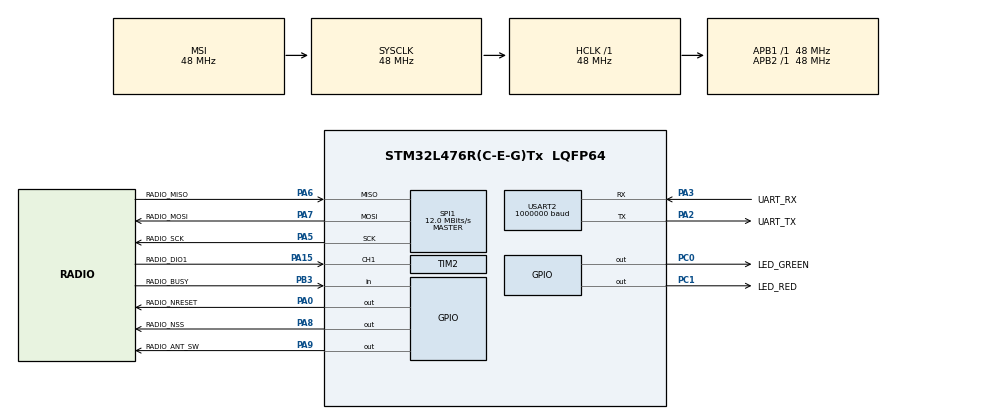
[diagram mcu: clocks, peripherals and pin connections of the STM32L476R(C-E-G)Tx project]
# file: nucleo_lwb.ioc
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Dma.Request0=USART2_RX
Dma.Request1=USART2_TX
Dma.USART2_RX.0.Direction=DMA_PERIPH_TO_MEMORY
Dma.USART2_RX.0.Instance=DMA1_Channel6
Dma.USART2_RX.0.MemDataAlignment=DMA_MDATAALIGN_BYTE
Dma.USART2_RX.0.MemInc=DMA_MINC_ENABLE
Dma.USART2_RX.0.Mode=DMA_CIRCULAR
Dma.USART2_RX.0.PeriphDataAlignment=DMA_PDATAALIGN_BYTE
Dma.USART2_RX.0.PeriphInc=DMA_PINC_DISABLE
Dma.USART2_RX.0.Priority=DMA_PRIORITY_MEDIUM
Dma.USART2_TX.1.Direction=DMA_MEMORY_TO_PERIPH
Dma.USART2_TX.1.Instance=DMA1_Channel7
Dma.USART2_TX.1.MemDataAlignment=DMA_MDATAALIGN_BYTE
Dma.USART2_TX.1.MemInc=DMA_MINC_ENABLE
Dma.USART2_TX.1.Mode=DMA_NORMAL
Dma.USART2_TX.1.PeriphDataAlignment=DMA_PDATAALIGN_BYTE
Dma.USART2_TX.1.PeriphInc=DMA_PINC_DISABLE
Dma.USART2_TX.1.Priority=DMA_PRIORITY_MEDIUM
FREERTOS.HEAP_NUMBER=1
FREERTOS.INCLUDE_uxTaskGetStackHighWaterMark=1
FREERTOS.INCLUDE_vTaskDelete=0
FREERTOS.INCLUDE_xTaskGetCurrentTaskHandle=1
FREERTOS.MEMORY_ALLOCATION=0
FREERTOS.Tasks01=defaultTask,0,256,StartDefaultTask,Default,NULL,Dynamic,NULL,NULL
FREERTOS.configCHECK_FOR_STACK_OVERFLOW=1
FREERTOS.configGENERATE_RUN_TIME_STATS=0
FREERTOS.configMINIMAL_STACK_SIZE=256
FREERTOS.configTICK_RATE_HZ=1000
FREERTOS.configTOTAL_HEAP_SIZE=16384
FREERTOS.configUSE_IDLE_HOOK=1
FREERTOS.configUSE_MALLOC_FAILED_HOOK=1
FREERTOS.configUSE_PREEMPTION=0
FREERTOS.configUSE_STATS_FORMATTING_FUNCTIONS=0
FREERTOS.configUSE_TICKLESS_IDLE=1
FREERTOS.configUSE_TICK_HOOK=0
FREERTOS.configUSE_TRACE_FACILITY=0
Mcu.Family=STM32L4
Mcu.Name=STM32L476R(C-E-G)Tx
Mcu.Package=LQFP64
NVIC.DMA1_Channel6_IRQn=true\:5\:0\:false\:false\:true\:true\:false\:true
NVIC.DMA1_Channel7_IRQn=true\:5\:0\:false\:false\:true\:true\:false\:true
NVIC.LPTIM1_IRQn=true\:5\:0\:false\:false\:true\:true\:true\:true
NVIC.PriorityGroup=NVIC_PRIORITYGROUP_4
NVIC.SPI1_IRQn=true\:5\:0\:false\:false\:true\:true\:true\:true
NVIC.TIM1_UP_TIM16_IRQn=true\:0\:0\:false\:false\:true\:false\:false\:true
NVIC.TIM2_IRQn=true\:5\:0\:true\:false\:true\:true\:true\:true
NVIC.TimeBase=TIM1_UP_TIM16_IRQn
NVIC.TimeBaseIP=TIM1
NVIC.USART2_IRQn=true\:5\:0\:false\:false\:true\:true\:true\:true
PA0.GPIO_Label=RADIO_NRESET
PA0.PinState=GPIO_PIN_SET
PA0.Signal=GPIO_Output
PA13\ (JTMS-SWDIO).Mode=Serial_Wire
PA13\ (JTMS-SWDIO).Signal=SYS_JTMS-SWDIO
PA14\ (JTCK-SWCLK).Mode=Serial_Wire
PA14\ (JTCK-SWCLK).Signal=SYS_JTCK-SWCLK
PA15\ (JTDI).GPIO_Label=RADIO_DIO1
PA15\ (JTDI).Signal=S_TIM2_CH1
PA2.GPIO_Label=UART_TX
PA2.GPIO_PuPd=GPIO_PULLUP
PA2.Mode=Asynchronous
PA2.Signal=USART2_TX
PA3.GPIO_Label=UART_RX
PA3.GPIO_PuPd=GPIO_PULLUP
PA3.Mode=Asynchronous
PA3.Signal=USART2_RX
PA5.GPIO_Label=RADIO_SCK
PA5.GPIO_PuPd=GPIO_PULLDOWN
PA5.Mode=Full_Duplex_Master
PA5.Signal=SPI1_SCK
PA6.GPIO_Label=RADIO_MISO
PA6.GPIO_PuPd=GPIO_PULLDOWN
PA6.Mode=Full_Duplex_Master
PA6.Signal=SPI1_MISO
PA7.GPIO_Label=RADIO_MOSI
PA7.GPIO_PuPd=GPIO_PULLDOWN
PA7.Mode=Full_Duplex_Master
PA7.Signal=SPI1_MOSI
PA8.GPIO_Label=RADIO_NSS
PA8.PinState=GPIO_PIN_SET
PA8.Signal=GPIO_Output
PA9.GPIO_Label=RADIO_ANT_SW
PA9.PinState=GPIO_PIN_SET
PA9.Signal=GPIO_Output
PB3\ (JTDO-TRACESWO).GPIO_Label=RADIO_BUSY
PB3\ (JTDO-TRACESWO).GPIO_PuPd=GPIO_PULLDOWN
PB3\ (JTDO-TRACESWO).Signal=GPIO_Input
PC0.GPIO_Label=LED_GREEN
PC0.Signal=GPIO_Output
PC1.GPIO_Label=LED_RED
PC1.Signal=GPIO_Output
PC14-OSC32_IN\ (PC14).Mode=LSE-External-Oscillator
PC14-OSC32_IN\ (PC14).Signal=RCC_OSC32_IN
PC15-OSC32_OUT\ (PC15).Mode=LSE-External-Oscillator
PC15-OSC32_OUT\ (PC15).Signal=RCC_OSC32_OUT
ProjectManager.HeapSize=0x200
ProjectManager.StackSize=0x400
ProjectManager.TargetToolchain=STM32CubeIDE
RCC.ADCFreq_Value=192000000
RCC.AHBFreq_Value=48000000
RCC.APB1Freq_Value=48000000
RCC.APB1TimFreq_Value=48000000
RCC.APB2Freq_Value=48000000
RCC.APB2TimFreq_Value=48000000
RCC.CortexFreq_Value=48000000
RCC.HCLKFreq_Value=48000000
RCC.HSE_VALUE=8000000
RCC.HSI_VALUE=16000000
RCC.LPTIM1CLockSelection=RCC_LPTIM1CLKSOURCE_LSE
RCC.MSIClockRange=RCC_MSIRANGE_11
RCC.MSI_VALUE=48000000
RCC.SYSCLKFreq_VALUE=48000000
RCC.USBFreq_Value=192000000
RCC.VCOOutputFreq_Value=384000000
SH.S_TIM2_CH1.0=TIM2_CH1,Input_Capture1_from_TI1
SPI1.BaudRatePrescaler=SPI_BAUDRATEPRESCALER_4
SPI1.CalculateBaudRate=12.0 MBits/s
SPI1.DataSize=SPI_DATASIZE_8BIT
SPI1.Direction=SPI_DIRECTION_2LINES
SPI1.Mode=SPI_MODE_MASTER
SPI1.VirtualType=VM_MASTER
TIM2.Channel-Input_Capture1_from_TI1=TIM_CHANNEL_1
TIM2.Channel-Output\ Compare2\ No\ Output=TIM_CHANNEL_2
TIM2.Channel-Output\ Compare3\ No\ Output=TIM_CHANNEL_3
TIM2.Period=0xFFFFFFFF
TIM2.Prescaler=5
TIM2.Pulse-Output\ Compare2\ No\ Output=0xFFFFFFFF
TIM2.Pulse-Output\ Compare3\ No\ Output=0xFFFFFFFF
USART2.BaudRate=1000000
USART2.VirtualMode-Asynchronous=VM_ASYNC
VP_FREERTOS_VS_CMSIS_V1.Mode=CMSIS_V1
VP_LPTIM1_VS_LPTIM_counterModeInternalClock.Mode=Counts__internal_clock_event_00
VP_SYS_VS_tim1.Mode=TIM1
VP_TIM2_VS_ClockSourceINT.Mode=Internal
VP_TIM2_VS_no_output2.Mode=Output Compare2 No Output
VP_TIM2_VS_no_output3.Mode=Output Compare3 No Output
board=nucleo-l476rg

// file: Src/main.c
/* USER CODE BEGIN Header */
/**
  ******************************************************************************
  * @file           : main.c
  * @brief          : Main program body
  ******************************************************************************
  * @attention
  *
  * <h2><center>&copy; Copyright (c) 2019 STMicroelectronics.
  * All rights reserved.</center></h2>
  *
  * This software component is licensed by ST under Ultimate Liberty license
  * SLA0044, the "License"; You may not use this file except in compliance with
  * the License. You may obtain a copy of the License at:
  *                             www.st.com/SLA0044
  *
  ******************************************************************************
  */
/* USER CODE END Header */

#include "main.h"
#include "cmsis_os.h"

LPTIM_HandleTypeDef hlptim1;

SPI_HandleTypeDef hspi1;

TIM_HandleTypeDef htim2;

UART_HandleTypeDef huart2;
DMA_HandleTypeDef hdma_usart2_rx;
DMA_HandleTypeDef hdma_usart2_tx;

osThreadId defaultTaskHandle;

void SystemClock_Config(void);
static void MX_GPIO_Init(void);
static void MX_DMA_Init(void);
static void MX_LPTIM1_Init(void);
static void MX_SPI1_Init(void);
static void MX_TIM2_Init(void);
static void MX_USART2_UART_Init(void);
void StartDefaultTask(void const * argument);

int main(void)
{
  /* USER CODE BEGIN 1 */

  system_boot();

  /* USER CODE END 1 */

  /* MCU Configuration--------------------------------------------------------*/

  /* Reset of all peripherals, Initializes the Flash interface and the Systick. */
  HAL_Init();

  /* Configure the system clock */
  SystemClock_Config();

  /* Initialize all configured peripherals */
  MX_GPIO_Init();
  MX_DMA_Init();
  MX_LPTIM1_Init();
  MX_SPI1_Init();
  MX_TIM2_Init();
  MX_USART2_UART_Init();
  /* USER CODE BEGIN 2 */

  /* print firmware and compiler info as well as the node ID */

  LOG_RAW(LOG_NEWLINE);
  LOG_INFO("compile date: %s  %s", __DATE__, __TIME__);
  LOG_INFO("node ID: %u", NODE_ID);
  LOG_INFO("reset flag: %s", system_get_reset_cause(0));
  LOG_INFO("radio config: %.3fMHz (ch %d), modulation %d, %ddBm", (float)(radio_bands[GLORIA_INTERFACE_RF_BAND].centerFrequency / 1000000.0f), GLORIA_INTERFACE_RF_BAND, GLORIA_INTERFACE_MODULATION, GLORIA_INTERFACE_POWER);

  system_init();

  /* initialize state machine for handling low-power modes */
  lpm_init(0, 0);

  /* USER CODE END 2 */

  /* Create the thread(s) */
  /* definition and creation of defaultTask */
  osThreadDef(defaultTask, StartDefaultTask, osPriorityNormal, 0, 256);
  defaultTaskHandle = osThreadCreate(osThread(defaultTask), NULL);

  /* USER CODE BEGIN RTOS_THREADS */
  /* FreeRTOS tasks, queues, etc. */
  rtos_init();

  /* USER CODE END RTOS_THREADS */

  /* Start scheduler */
  osKernelStart();

  /* We should never get here as control is now taken by the scheduler */
  /* Infinite loop */
  while (1)
  {
  }

}

void SystemClock_Config(void)
{
  RCC_OscInitTypeDef RCC_OscInitStruct = {0};
  RCC_ClkInitTypeDef RCC_ClkInitStruct = {0};
  RCC_PeriphCLKInitTypeDef PeriphClkInit = {0};

  /** Configure LSE Drive Capability
  */
  HAL_PWR_EnableBkUpAccess();
  __HAL_RCC_LSEDRIVE_CONFIG(RCC_LSEDRIVE_LOW);
  /** Initializes the CPU, AHB and APB busses clocks
  */
  RCC_OscInitStruct.OscillatorType = RCC_OSCILLATORTYPE_LSE|RCC_OSCILLATORTYPE_MSI;
  RCC_OscInitStruct.LSEState = RCC_LSE_ON;
  RCC_OscInitStruct.MSIState = RCC_MSI_ON;
  RCC_OscInitStruct.MSICalibrationValue = 0;
  RCC_OscInitStruct.MSIClockRange = RCC_MSIRANGE_11;
  RCC_OscInitStruct.PLL.PLLState = RCC_PLL_NONE;
  if (HAL_RCC_OscConfig(&RCC_OscInitStruct) != HAL_OK)
  {
    Error_Handler();
  }
  /** Initializes the CPU, AHB and APB busses clocks
  */
  RCC_ClkInitStruct.ClockType = RCC_CLOCKTYPE_HCLK|RCC_CLOCKTYPE_SYSCLK
                              |RCC_CLOCKTYPE_PCLK1|RCC_CLOCKTYPE_PCLK2;
  RCC_ClkInitStruct.SYSCLKSource = RCC_SYSCLKSOURCE_MSI;
  RCC_ClkInitStruct.AHBCLKDivider = RCC_SYSCLK_DIV1;
  RCC_ClkInitStruct.APB1CLKDivider = RCC_HCLK_DIV1;
  RCC_ClkInitStruct.APB2CLKDivider = RCC_HCLK_DIV1;

  if (HAL_RCC_ClockConfig(&RCC_ClkInitStruct, FLASH_LATENCY_2) != HAL_OK)
  {
    Error_Handler();
  }
  PeriphClkInit.PeriphClockSelection = RCC_PERIPHCLK_USART2|RCC_PERIPHCLK_LPTIM1;
  PeriphClkInit.Usart2ClockSelection = RCC_USART2CLKSOURCE_PCLK1;
  PeriphClkInit.Lptim1ClockSelection = RCC_LPTIM1CLKSOURCE_LSE;
  if (HAL_RCCEx_PeriphCLKConfig(&PeriphClkInit) != HAL_OK)
  {
    Error_Handler();
  }
  /** Configure the main internal regulator output voltage
  */
  if (HAL_PWREx_ControlVoltageScaling(PWR_REGULATOR_VOLTAGE_SCALE1) != HAL_OK)
  {
    Error_Handler();
  }
  /** Enable MSI Auto calibration
  */
  HAL_RCCEx_EnableMSIPLLMode();
}

static void MX_LPTIM1_Init(void)
{

  hlptim1.Instance = LPTIM1;
  hlptim1.Init.Clock.Source = LPTIM_CLOCKSOURCE_APBCLOCK_LPOSC;
  hlptim1.Init.Clock.Prescaler = LPTIM_PRESCALER_DIV1;
  hlptim1.Init.Trigger.Source = LPTIM_TRIGSOURCE_SOFTWARE;
  hlptim1.Init.OutputPolarity = LPTIM_OUTPUTPOLARITY_HIGH;
  hlptim1.Init.UpdateMode = LPTIM_UPDATE_IMMEDIATE;
  hlptim1.Init.CounterSource = LPTIM_COUNTERSOURCE_INTERNAL;
  hlptim1.Init.Input1Source = LPTIM_INPUT1SOURCE_GPIO;
  hlptim1.Init.Input2Source = LPTIM_INPUT2SOURCE_GPIO;
  if (HAL_LPTIM_Init(&hlptim1) != HAL_OK)
  {
    Error_Handler();
  }
  /* USER CODE BEGIN LPTIM1_Init 2 */
  __HAL_LPTIM_ENABLE_IT(&hlptim1, LPTIM_IT_CMPM);     /* must be enabled before starting the timer */
  HAL_LPTIM_Counter_Start_IT(&hlptim1, 0xffff);
  /* USER CODE END LPTIM1_Init 2 */

}

static void MX_SPI1_Init(void)
{

  /* SPI1 parameter configuration*/
  hspi1.Instance = SPI1;
  hspi1.Init.Mode = SPI_MODE_MASTER;
  hspi1.Init.Direction = SPI_DIRECTION_2LINES;
  hspi1.Init.DataSize = SPI_DATASIZE_8BIT;
  hspi1.Init.CLKPolarity = SPI_POLARITY_LOW;
  hspi1.Init.CLKPhase = SPI_PHASE_1EDGE;
  hspi1.Init.NSS = SPI_NSS_SOFT;
  hspi1.Init.BaudRatePrescaler = SPI_BAUDRATEPRESCALER_4;
  hspi1.Init.FirstBit = SPI_FIRSTBIT_MSB;
  hspi1.Init.TIMode = SPI_TIMODE_DISABLE;
  hspi1.Init.CRCCalculation = SPI_CRCCALCULATION_DISABLE;
  hspi1.Init.CRCPolynomial = 7;
  hspi1.Init.CRCLength = SPI_CRC_LENGTH_DATASIZE;
  hspi1.Init.NSSPMode = SPI_NSS_PULSE_ENABLE;
  if (HAL_SPI_Init(&hspi1) != HAL_OK)
  {
    Error_Handler();
  }

}

static void MX_TIM2_Init(void)
{

  TIM_ClockConfigTypeDef sClockSourceConfig = {0};
  TIM_MasterConfigTypeDef sMasterConfig = {0};
  TIM_IC_InitTypeDef sConfigIC = {0};
  TIM_OC_InitTypeDef sConfigOC = {0};

  htim2.Instance = TIM2;
  htim2.Init.Prescaler = 5;
  htim2.Init.CounterMode = TIM_COUNTERMODE_UP;
  htim2.Init.Period = 0xFFFFFFFF;
  htim2.Init.ClockDivision = TIM_CLOCKDIVISION_DIV1;
  htim2.Init.AutoReloadPreload = TIM_AUTORELOAD_PRELOAD_DISABLE;
  if (HAL_TIM_Base_Init(&htim2) != HAL_OK)
  {
    Error_Handler();
  }
  sClockSourceConfig.ClockSource = TIM_CLOCKSOURCE_INTERNAL;
  if (HAL_TIM_ConfigClockSource(&htim2, &sClockSourceConfig) != HAL_OK)
  {
    Error_Handler();
  }
  if (HAL_TIM_IC_Init(&htim2) != HAL_OK)
  {
    Error_Handler();
  }
  if (HAL_TIM_OC_Init(&htim2) != HAL_OK)
  {
    Error_Handler();
  }
  sMasterConfig.MasterOutputTrigger = TIM_TRGO_RESET;
  sMasterConfig.MasterSlaveMode = TIM_MASTERSLAVEMODE_DISABLE;
  if (HAL_TIMEx_MasterConfigSynchronization(&htim2, &sMasterConfig) != HAL_OK)
  {
    Error_Handler();
  }
  sConfigIC.ICPolarity = TIM_INPUTCHANNELPOLARITY_RISING;
  sConfigIC.ICSelection = TIM_ICSELECTION_DIRECTTI;
  sConfigIC.ICPrescaler = TIM_ICPSC_DIV1;
  sConfigIC.ICFilter = 0;
  if (HAL_TIM_IC_ConfigChannel(&htim2, &sConfigIC, TIM_CHANNEL_1) != HAL_OK)
  {
    Error_Handler();
  }
  sConfigOC.OCMode = TIM_OCMODE_TIMING;
  sConfigOC.Pulse = 0xFFFFFFFF;
  sConfigOC.OCPolarity = TIM_OCPOLARITY_HIGH;
  sConfigOC.OCFastMode = TIM_OCFAST_DISABLE;
  if (HAL_TIM_OC_ConfigChannel(&htim2, &sConfigOC, TIM_CHANNEL_2) != HAL_OK)
  {
    Error_Handler();
  }
  if (HAL_TIM_OC_ConfigChannel(&htim2, &sConfigOC, TIM_CHANNEL_3) != HAL_OK)
  {
    Error_Handler();
  }
  /* USER CODE BEGIN TIM2_Init 2 */
  __HAL_TIM_ENABLE_IT(&htim2, TIM_IT_UPDATE);
  /* USER CODE END TIM2_Init 2 */

}

static void MX_USART2_UART_Init(void)
{

  huart2.Instance = USART2;
  huart2.Init.BaudRate = 1000000;
  huart2.Init.WordLength = UART_WORDLENGTH_8B;
  huart2.Init.StopBits = UART_STOPBITS_1;
  huart2.Init.Parity = UART_PARITY_NONE;
  huart2.Init.Mode = UART_MODE_TX_RX;
  huart2.Init.HwFlowCtl = UART_HWCONTROL_NONE;
  huart2.Init.OverSampling = UART_OVERSAMPLING_16;
  huart2.Init.OneBitSampling = UART_ONE_BIT_SAMPLE_DISABLE;
  huart2.AdvancedInit.AdvFeatureInit = UART_ADVFEATURE_NO_INIT;
  if (HAL_UART_Init(&huart2) != HAL_OK)
  {
    Error_Handler();
  }

}

static void MX_DMA_Init(void)
{

  /* DMA controller clock enable */
  __HAL_RCC_DMA1_CLK_ENABLE();

  /* DMA interrupt init */
  /* DMA1_Channel6_IRQn interrupt configuration */
  HAL_NVIC_SetPriority(DMA1_Channel6_IRQn, 5, 0);
  HAL_NVIC_EnableIRQ(DMA1_Channel6_IRQn);
  /* DMA1_Channel7_IRQn interrupt configuration */
  HAL_NVIC_SetPriority(DMA1_Channel7_IRQn, 5, 0);
  HAL_NVIC_EnableIRQ(DMA1_Channel7_IRQn);

}

static void MX_GPIO_Init(void)
{
  GPIO_InitTypeDef GPIO_InitStruct = {0};

  /* GPIO Ports Clock Enable */
  __HAL_RCC_GPIOC_CLK_ENABLE();
  __HAL_RCC_GPIOH_CLK_ENABLE();
  __HAL_RCC_GPIOA_CLK_ENABLE();
  __HAL_RCC_GPIOB_CLK_ENABLE();
  __HAL_RCC_GPIOD_CLK_ENABLE();

  /*Configure GPIO pin Output Level */
  HAL_GPIO_WritePin(GPIOC, LED_GREEN_Pin|LED_RED_Pin, GPIO_PIN_RESET);

  /*Configure GPIO pin Output Level */
  HAL_GPIO_WritePin(GPIOA, RADIO_NRESET_Pin|RADIO_NSS_Pin|RADIO_ANT_SW_Pin, GPIO_PIN_SET);

  /*Configure GPIO pins : PC13 PC2 PC3 PC4
                           PC5 PC6 PC7 PC8
                           PC9 PC10 PC11 PC12 */
  GPIO_InitStruct.Pin = GPIO_PIN_13|GPIO_PIN_2|GPIO_PIN_3|GPIO_PIN_4
                          |GPIO_PIN_5|GPIO_PIN_6|GPIO_PIN_7|GPIO_PIN_8
                          |GPIO_PIN_9|GPIO_PIN_10|GPIO_PIN_11|GPIO_PIN_12;
  GPIO_InitStruct.Mode = GPIO_MODE_ANALOG;
  GPIO_InitStruct.Pull = GPIO_NOPULL;
  HAL_GPIO_Init(GPIOC, &GPIO_InitStruct);

  /*Configure GPIO pins : PH0 PH1 */
  GPIO_InitStruct.Pin = GPIO_PIN_0|GPIO_PIN_1;
  GPIO_InitStruct.Mode = GPIO_MODE_ANALOG;
  GPIO_InitStruct.Pull = GPIO_NOPULL;
  HAL_GPIO_Init(GPIOH, &GPIO_InitStruct);

  /*Configure GPIO pins : LED_GREEN_Pin LED_RED_Pin */
  GPIO_InitStruct.Pin = LED_GREEN_Pin|LED_RED_Pin;
  GPIO_InitStruct.Mode = GPIO_MODE_OUTPUT_PP;
  GPIO_InitStruct.Pull = GPIO_NOPULL;
  GPIO_InitStruct.Speed = GPIO_SPEED_FREQ_LOW;
  HAL_GPIO_Init(GPIOC, &GPIO_InitStruct);

  /*Configure GPIO pins : RADIO_NRESET_Pin RADIO_NSS_Pin RADIO_ANT_SW_Pin */
  GPIO_InitStruct.Pin = RADIO_NRESET_Pin|RADIO_NSS_Pin|RADIO_ANT_SW_Pin;
  GPIO_InitStruct.Mode = GPIO_MODE_OUTPUT_PP;
  GPIO_InitStruct.Pull = GPIO_NOPULL;
  GPIO_InitStruct.Speed = GPIO_SPEED_FREQ_LOW;
  HAL_GPIO_Init(GPIOA, &GPIO_InitStruct);

  /*Configure GPIO pins : PA1 PA4 PA10 PA11
                           PA12 */
  GPIO_InitStruct.Pin = GPIO_PIN_1|GPIO_PIN_4|GPIO_PIN_10|GPIO_PIN_11
                          |GPIO_PIN_12;
  GPIO_InitStruct.Mode = GPIO_MODE_ANALOG;
  GPIO_InitStruct.Pull = GPIO_NOPULL;
  HAL_GPIO_Init(GPIOA, &GPIO_InitStruct);

  /*Configure GPIO pins : PB0 PB1 PB2 PB10
                           PB11 PB12 PB13 PB14
                           PB15 PB4 PB5 PB6
                           PB7 PB8 PB9 */
  GPIO_InitStruct.Pin = GPIO_PIN_0|GPIO_PIN_1|GPIO_PIN_2|GPIO_PIN_10
                          |GPIO_PIN_11|GPIO_PIN_12|GPIO_PIN_13|GPIO_PIN_14
                          |GPIO_PIN_15|GPIO_PIN_4|GPIO_PIN_5|GPIO_PIN_6
                          |GPIO_PIN_7|GPIO_PIN_8|GPIO_PIN_9;
  GPIO_InitStruct.Mode = GPIO_MODE_ANALOG;
  GPIO_InitStruct.Pull = GPIO_NOPULL;
  HAL_GPIO_Init(GPIOB, &GPIO_InitStruct);

  /*Configure GPIO pin : PD2 */
  GPIO_InitStruct.Pin = GPIO_PIN_2;
  GPIO_InitStruct.Mode = GPIO_MODE_ANALOG;
  GPIO_InitStruct.Pull = GPIO_NOPULL;
  HAL_GPIO_Init(GPIOD, &GPIO_InitStruct);

  /*Configure GPIO pin : RADIO_BUSY_Pin */
  GPIO_InitStruct.Pin = RADIO_BUSY_Pin;
  GPIO_InitStruct.Mode = GPIO_MODE_INPUT;
  GPIO_InitStruct.Pull = GPIO_PULLDOWN;
  HAL_GPIO_Init(RADIO_BUSY_GPIO_Port, &GPIO_InitStruct);

}

void StartDefaultTask(void const * argument)
{
  /* USER CODE BEGIN 5 */
  vTaskSuspend(NULL);       // we don't need this task
  /* Infinite loop */
  for(;;)
  {
    osDelay(1);
  }
  /* USER CODE END 5 */
}

 /**
  * @brief  Period elapsed callback in non blocking mode
  * @note   This function is called  when TIM1 interrupt took place, inside
  * HAL_TIM_IRQHandler(). It makes a direct call to HAL_IncTick() to increment
  * a global variable "uwTick" used as application time base.
  * @param  htim : TIM handle
  * @retval None
  */
void HAL_TIM_PeriodElapsedCallback(TIM_HandleTypeDef *htim)
{
  if (htim->Instance == TIM1) {
    HAL_IncTick();
  }
  /* USER CODE BEGIN Callback 1 */
  if (htim->Instance == TIM2) {
    hs_timer_handle_overflow(htim);
  }
  /* USER CODE END Callback 1 */
}

void Error_Handler(void)
{
  /* USER CODE BEGIN Error_Handler_Debug */
  led_on(LED_EVENT);
  while (1);
  /* USER CODE END Error_Handler_Debug */
}

/************************ (C) COPYRIGHT STMicroelectronics *****END OF FILE****/

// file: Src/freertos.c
/* USER CODE BEGIN Header */
/**
  ******************************************************************************
  * File Name          : freertos.c
  * Description        : Code for freertos applications
  ******************************************************************************
  * @attention
  *
  * <h2><center>&copy; Copyright (c) 2019 STMicroelectronics.
  * All rights reserved.</center></h2>
  *
  * This software component is licensed by ST under Ultimate Liberty license
  * SLA0044, the "License"; You may not use this file except in compliance with
  * the License. You may obtain a copy of the License at:
  *                             www.st.com/SLA0044
  *
  ******************************************************************************
  */
/* USER CODE END Header */

#include "FreeRTOS.h"
#include "task.h"
#include "main.h"

/* USER CODE BEGIN Includes */
#include "cmsis_os.h"

/* USER CODE END Includes */

/* USER CODE BEGIN PM */
#ifndef CPU_OFF_IND
#define CPU_OFF_IND()
#define CPU_ON_IND()
#endif /* CPU_OFF_IND */
#ifndef IDLE_TASK_RESUMED
#define IDLE_TASK_RESUMED()
#define IDLE_TASK_SUSPENDED()
#endif /* IDLE_TASK_IND */
/* USER CODE END PM */

/* USER CODE BEGIN Variables */

/* RTOS Task Handles */
TaskHandle_t xTaskHandle_pre  = NULL;
TaskHandle_t xTaskHandle_com  = NULL;
TaskHandle_t xTaskHandle_post = NULL;
TaskHandle_t xTaskHandle_idle = NULL;
/* RTOS Queue Handles */
QueueHandle_t xQueueHandle_tx = NULL;   /* holds the messages to be transmitted over the LWB network */
QueueHandle_t xQueueHandle_rx = NULL;   /* holds the messages received from the LWB network */
QueueHandle_t xQueueHandle_retx = NULL; /* holds the messages to be retransmitted over the LWB network */
/* Variables */
uint64_t active_time      = 0;
uint64_t wakeup_timestamp = 0;
uint64_t last_reset       = 0;

/* USER CODE END Variables */

/* USER CODE BEGIN FunctionPrototypes */

extern void vTask_pre(void* argument);
extern void vTask_com(void* argument);
extern void vTask_post(void* argument);

/* USER CODE END FunctionPrototypes */

/* Pre/Post sleep processing prototypes */
void PreSleepProcessing(uint32_t *ulExpectedIdleTime);
void PostSleepProcessing(uint32_t *ulExpectedIdleTime);

/* Hook prototypes */
void vApplicationIdleHook(void);
void vApplicationStackOverflowHook(xTaskHandle xTask, signed char *pcTaskName);
void vApplicationMallocFailedHook(void);

/* USER CODE BEGIN 2 */
void vApplicationIdleHook( void )
{
   /* vApplicationIdleHook() will only be called if configUSE_IDLE_HOOK is set
   to 1 in FreeRTOSConfig.h. It will be called on each iteration of the idle
   task. It is essential that code added to this hook function never attempts
   to block in any way (for example, call xQueueReceive() with a block time
   specified, or call vTaskDelay()). If the application makes use of the
   vTaskDelete() API function (as this demo application does) then it is also
   important that vApplicationIdleHook() is permitted to return to its calling
   function, because it is the responsibility of the idle task to clean up
   memory allocated by the kernel to any task that has since been deleted. */

  IDLE_TASK_RESUMED();

  if (!xTaskHandle_idle) {
    xTaskHandle_idle = xTaskGetCurrentTaskHandle();
  }

  /* if the application ends up in the RESET state, something went wrong -> reset the MCU */
  if (lpm_get_opmode() == OP_MODE_RESET) {
    NVIC_SystemReset();
  }

  IDLE_TASK_SUSPENDED();
}
/* USER CODE END 2 */

/* USER CODE BEGIN 4 */
void vApplicationStackOverflowHook(xTaskHandle xTask, signed char *pcTaskName)
{
   /* Run time stack overflow checking is performed if
   configCHECK_FOR_STACK_OVERFLOW is defined to 1 or 2. This hook function is
   called if a stack overflow is detected. */

  (void)pcTaskName;
  (void)xTask;
  FATAL_ERROR("--- stack overflow detected! ---\r\n");
}
/* USER CODE END 4 */

/* USER CODE BEGIN 5 */
void vApplicationMallocFailedHook(void)
{
   /* vApplicationMallocFailedHook() will only be called if
   configUSE_MALLOC_FAILED_HOOK is set to 1 in FreeRTOSConfig.h. It is a hook
   function that will get called if a call to pvPortMalloc() fails.
   pvPortMalloc() is called internally by the kernel whenever a task, queue,
   timer or semaphore is created. It is also called by various parts of the
   demo application. If heap_1.c or heap_2.c are used, then the size of the
   heap available to pvPortMalloc() is defined by configTOTAL_HEAP_SIZE in
   FreeRTOSConfig.h, and the xPortGetFreeHeapSize() API function can be used
   to query the size of free heap space that remains (although it does not
   provide information on how the remaining heap might be fragmented). */
  FATAL_ERROR("--- malloc failed ---\r\n");
}
/* USER CODE END 5 */

/* USER CODE BEGIN PREPOSTSLEEP */
void PreSleepProcessing(uint32_t *ulExpectedIdleTime)
{
  /* interrupts are disabled within this function */

  /* note: for tickless idle, the HAL tick needs to be suspended! */
  lpm_prepare();

  /* duty cycle measurement */
  active_time += lptimer_now() - wakeup_timestamp;
  CPU_OFF_IND();
}

void PostSleepProcessing(uint32_t *ulExpectedIdleTime)
{
  /* interrupts are disabled within this function */

  CPU_ON_IND();
  wakeup_timestamp = lptimer_now();    /* reset duty cycle timer */

  lpm_resume();
}
/* USER CODE END PREPOSTSLEEP */

/* USER CODE BEGIN Application */
/* RTOS functions ------------------------------------------------------------*/
void rtos_init(void)
{
  /* create RTOS queues */
  xQueueHandle_rx = xQueueCreate(RECEIVE_QUEUE_SIZE, DPP_MSG_PKT_LEN);
  if (xQueueHandle_rx == NULL) {
    Error_Handler();
  }
  xQueueHandle_tx = xQueueCreate(TRANSMIT_QUEUE_SIZE, DPP_MSG_PKT_LEN);
  if (xQueueHandle_tx == NULL) {
    Error_Handler();
  }
  xQueueHandle_retx = xQueueCreate(TRANSMIT_QUEUE_SIZE, DPP_MSG_PKT_LEN);    /* make it the same size as the transmit queue */
  if (xQueueHandle_retx == NULL) {
    Error_Handler();
  }

  /* create RTOS tasks */
  /* max. priority is (configMAX_PRIORITIES - 1), higher numbers = higher
   * priority; idle task has priority 0 */
  if (xTaskCreate(vTask_pre,
                  "preTask",
                  PRE_TASK_STACK_SIZE,
                  NULL,
                  tskIDLE_PRIORITY + 1,            /* lowest priority right after the idle task */
                  &xTaskHandle_pre) != pdPASS)    { Error_Handler(); }
  if (xTaskCreate(vTask_post,
                  "postTask",
                  POST_TASK_STACK_SIZE,
                  NULL,
                  tskIDLE_PRIORITY + 1,            /* lowest priority right after the idle task */
                  &xTaskHandle_post) != pdPASS)    { Error_Handler(); }
  if (xTaskCreate(vTask_com,
                  "lwbTask",
                  COM_TASK_STACK_SIZE,
                  NULL,
                  configMAX_PRIORITIES - 1,        /* highest priority task */
                  &xTaskHandle_com) != pdPASS)     { Error_Handler(); }
}

uint32_t rtos_get_cpu_dc(void)
{
  return (uint32_t)((active_time * 10000) / (lptimer_now() - last_reset));
}

void rtos_reset_cpu_dc(void)
{
  last_reset = lptimer_now();
  active_time = 0;
}

void rtos_check_stack_usage(void)
{
  static unsigned long idleTaskStackWM = 0,
                       preTaskStackWM  = 0,
                       comTaskStackWM  = 0,
                       postTaskStackWM = 0;

  /* check stack watermarks (store the used words) */
  unsigned long idleSWM = configMINIMAL_STACK_SIZE - (uxTaskGetStackHighWaterMark(xTaskHandle_idle));
  unsigned long preSWM  = PRE_TASK_STACK_SIZE - (uxTaskGetStackHighWaterMark(xTaskHandle_pre));
  unsigned long comSWM  = COM_TASK_STACK_SIZE - (uxTaskGetStackHighWaterMark(xTaskHandle_com));
  unsigned long postSWM = POST_TASK_STACK_SIZE - (uxTaskGetStackHighWaterMark(xTaskHandle_post));

  if (idleSWM > idleTaskStackWM) {
    idleTaskStackWM = idleSWM;
    uint32_t usage = idleTaskStackWM * 100 / configMINIMAL_STACK_SIZE;
    if (usage > STACK_WARNING_THRESHOLD) {
      LOG_WARNING("stack watermark of idle task reached %u%%", usage);
    } else {
      LOG_INFO("stack watermark of idle task increased to %u%%", usage);
    }
  }
  if (preSWM > preTaskStackWM) {
    preTaskStackWM = preSWM;
    uint32_t usage = preTaskStackWM * 100 / PRE_TASK_STACK_SIZE;
    if (usage > STACK_WARNING_THRESHOLD) {
      LOG_WARNING("stack watermark of pre task reached %u%%", usage);
    } else {
      LOG_INFO("stack watermark of pre task increased to %u%%", usage);
    }
  }
  if (comSWM > comTaskStackWM) {
    comTaskStackWM = comSWM;
    uint32_t usage = comTaskStackWM * 100 / COM_TASK_STACK_SIZE;
    if (usage > STACK_WARNING_THRESHOLD) {
      LOG_WARNING("stack watermark of com task reached %u%%", usage);
    } else {
      LOG_INFO("stack watermark of com task increased to %u%%", usage);
    }
  }
  if (postSWM > postTaskStackWM) {
    postTaskStackWM = postSWM;
    uint32_t usage = postTaskStackWM * 100 / POST_TASK_STACK_SIZE;
    if (usage > STACK_WARNING_THRESHOLD) {
      LOG_WARNING("stack watermark of post task reached %u%%", usage);
    } else {
      LOG_INFO("stack watermark of post task increased to %u%%", usage);
    }
  }
}

/* USER CODE END Application */

/************************ (C) COPYRIGHT STMicroelectronics *****END OF FILE****/
